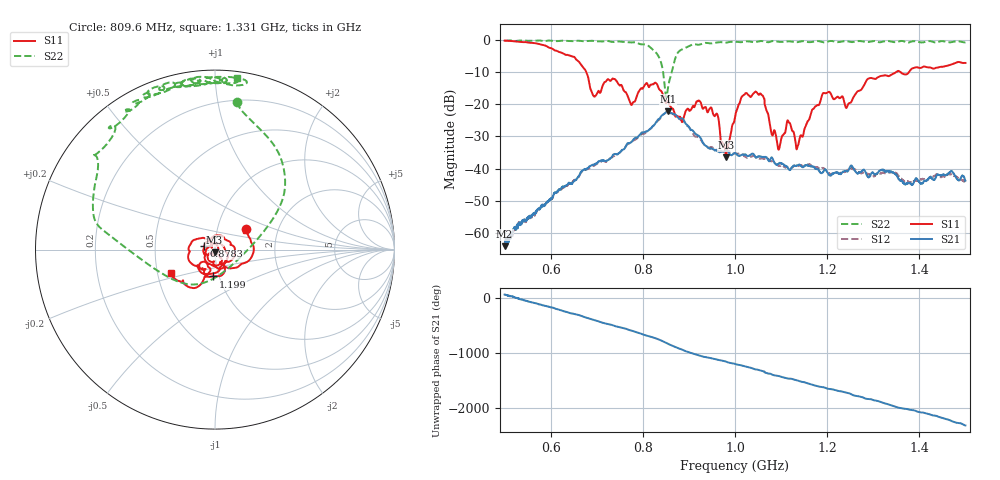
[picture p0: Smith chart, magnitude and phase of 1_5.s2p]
!Agilent Technologies,E8364B,US42250235,A.06.04.32
!Agilent E8364B: A.06.04.32
!Date: Thursday, October 01, 2020 11:14:54
!Correction: S11(Full 2 Port(1,2)) S21(Full 2 Port(1,2)) S12(Full 2 Port(1,2)) S22(Full 2 Port(1,2))
!S2P File: Measurements: S11, S21, S12, S22:
# Hz S  dB  R 50
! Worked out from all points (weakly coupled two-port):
!   2650 points, 500 MHz to 1.5 GHz, reference 50 ohm
!   highest |S21| = -22.19 dB at 854.5 MHz (marker M1); lowest = -64.2 dB at 500 MHz (marker M2)
!   lowest |S11| = -36.5 dB at 980.2 MHz (marker M3), VSWR 1.03, Z = 49.7 - j1.47 ohm
!   |S11| at or under -10 dB: 677.2 MHz to 1.349 GHz (672.3 MHz wide, 66.3 % of centre); 1.359 GHz to 1.377 GHz (18.05 MHz wide, 1.32 % of centre)
!   |S22| runs from -17.9 to -0.1 dB; largest |S21 - S12| = 0.012
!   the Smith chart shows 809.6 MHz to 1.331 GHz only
!   S11 on the Smith chart (normalised r, x): 809.6 MHz: 1.38, +0.33; 878.3 MHz: 0.89, +0.03; 1.199 GHz: 0.93, -0.29; 1.331 GHz: 0.59, -0.16
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5e8  -0.19 -175.4  -64.15 67.4  -63.49 60.3  -0.25 136.7
5.894677e8  -1.81 126.1  -50.92 -138.2  -50.97 -147.1  -0.31 128.2
6.668554e8  -7.86 61.8  -40.83 38.5  -41.09 29.4  -0.33 121.5
6.947905e8  -17.64 70.0  -38.79 -37.3  -39.13 -44.0  -0.36 118.5
7.774632e8  -19.69 60.9  -31.39 127.3  -31.44 117.9  -0.74 97.2
8.095508e8  -13.57 33.3  -28.44 37.8  -28.57 33.5  -1.62 81.6
8.337108e8  -14.80 -24.0  -24.67 -27.9  -24.94 -34.8  -5.00 46.2
8.544734e8  -19.05 -73.1  -22.19 -107.1  -22.16 -114.5  -15.00 -101.2
8.782559e8  -24.11 163.0  -24.45 166.7  -24.34 156.3  -3.56 168.4
9.473386e8  -21.01 -81.2  -33.84 -7.5  -33.30 -14.4  -1.07 128.3
9.801812e8  -36.46 -100.1  -34.32 -71.4  -34.37 -83.0  -0.84 120.0
1.000189e9  -23.88 -54.7  -35.14 -115.2  -35.22 -126.3  -0.54 119.0
1.056436e9  -16.85 171.9  -36.32 122.9  -36.89 112.6  -0.32 110.1
1.093809e9  -34.02 21.1  -38.61 28.8  -39.13 29.3  -0.56 108.5
1.116082e9  -25.39 -167.0  -40.15 -22.0  -39.71 -13.2  -0.42 102.1
1.135334e9  -33.33 151.1  -39.08 -54.3  -39.28 -50.4  -0.68 98.1
1.166667e9  -21.97 -24.6  -39.35 -128.6  -39.18 -122.2  -0.62 96.1
1.199132e9  -16.48 -94.8  -40.88 159.6  -40.82 164.4  -0.62 91.9
1.243299e9  -20.76 -118.0  -40.83 77.3  -40.55 84.3  -0.38 92.9
1.330502e9  -11.16 -152.5  -40.75 -124.1  -41.07 -109.9  -0.32 82.8
1.333522e9  -11.25 -152.1  -40.91 -132.6  -41.13 -118.8  -0.35 84.2
1.5e9  -7.14 138.0  -43.79 -153.6  -44.64 -139.9  -0.72 61.4
